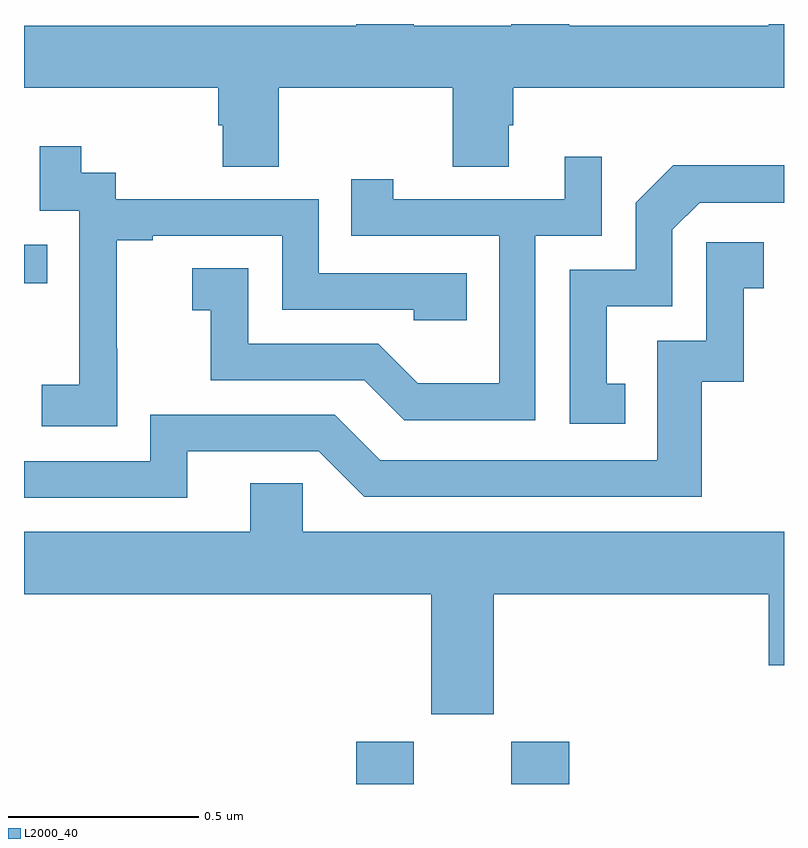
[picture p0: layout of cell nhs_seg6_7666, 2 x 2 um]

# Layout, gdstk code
import gdstk
lib = gdstk.Library(unit=1e-6, precision=1e-09)
def R(c, l, rs):  # rectangles x0, y0, x1, y1
    for r in rs: c.add(gdstk.rectangle(r[:2], r[2:], *l))
def P(c, l, *ps):  # polygons
    for p in ps: c.add(gdstk.Polygon(p, *l))
L2000_40 = (2000, 40)

nhs_seg6_7666 = lib.new_cell('nhs_seg6_7666')
R(nhs_seg6_7666, L2000_40, [(211.874,949.5,212.026,949.611), (212.282,949.5,212.435,949.611), (211,950.818,211.061,950.919)])
P(nhs_seg6_7666, L2000_40, [(211.671,951.332),(212.128,951.332),(212.128,951.124),(212.275,951.124),(212.275,951.234),(212.288,951.234),(212.288,951.332),(213,951.332),(213,951.5),(212.96,951.5),(212.96,951.496),(212.435,951.496),(212.435,951.5),(212.282,951.5),(212.282,951.496),(212.026,951.496),(212.026,951.5),(211.874,951.5),(211.874,951.496),(211,951.496),(211,951.332),(211.511,951.332),(211.511,951.234),(211.523,951.234),(211.523,951.124),(211.671,951.124)],
  [(211.245,950.647),(211.244,950.647),(211.244,950.931),(211.339,950.931),(211.339,950.943),(211.68,950.943),(211.68,950.748),(212.025,950.748),(212.025,950.721),(212.165,950.721),(212.165,950.844),(211.776,950.844),(211.776,951.039),(211.242,951.039),(211.242,951.108),(211.15,951.108),(211.15,951.178),(211.041,951.178),(211.041,951.009),(211.146,951.009),(211.146,950.78),(211.145,950.78),(211.145,950.551),(211.047,950.551),(211.047,950.441),(211.245,950.441)],
  [(212.346,950.943),(212.52,950.943),(212.52,951.151),(212.423,951.151),(212.423,951.039),(211.972,951.039),(211.972,951.091),(211.861,951.091),(211.861,950.943),(212.25,950.943),(212.25,950.554),(212.036,950.554),(211.932,950.658),(211.59,950.658),(211.59,950.857),(211.443,950.857),(211.443,950.747),(211.492,950.747),(211.492,950.562),(211.895,950.562),(212,950.457),(212.346,950.457)],
  [(212.582,950.553),(212.533,950.553),(212.533,950.757),(212.706,950.757),(212.706,950.958),(212.778,951.03),(213,951.03),(213,951.128),(212.708,951.128),(212.61,951.03),(212.61,950.853),(212.436,950.853),(212.436,950.448),(212.582,950.448)],
  [(211.429,950.376),(211.776,950.376),(211.896,950.256),(212.783,950.256),(212.783,950.559),(212.894,950.559),(212.894,950.805),(212.947,950.805),(212.947,950.926),(212.796,950.926),(212.796,950.667),(212.667,950.667),(212.667,950.352),(211.938,950.352),(211.818,950.472),(211.332,950.472),(211.332,950.349),(211,950.349),(211,950.253),(211.429,950.253)],
  [(212.236,950),(212.96,950),(212.96,949.812),(213,949.812),(213,950.164),(211.734,950.164),(211.734,950.291),(211.595,950.291),(211.595,950.164),(211,950.164),(211,950),(212.072,950),(212.072,949.683),(212.236,949.683)])

lib.write_gds('nhs_seg6_7666.gds')
